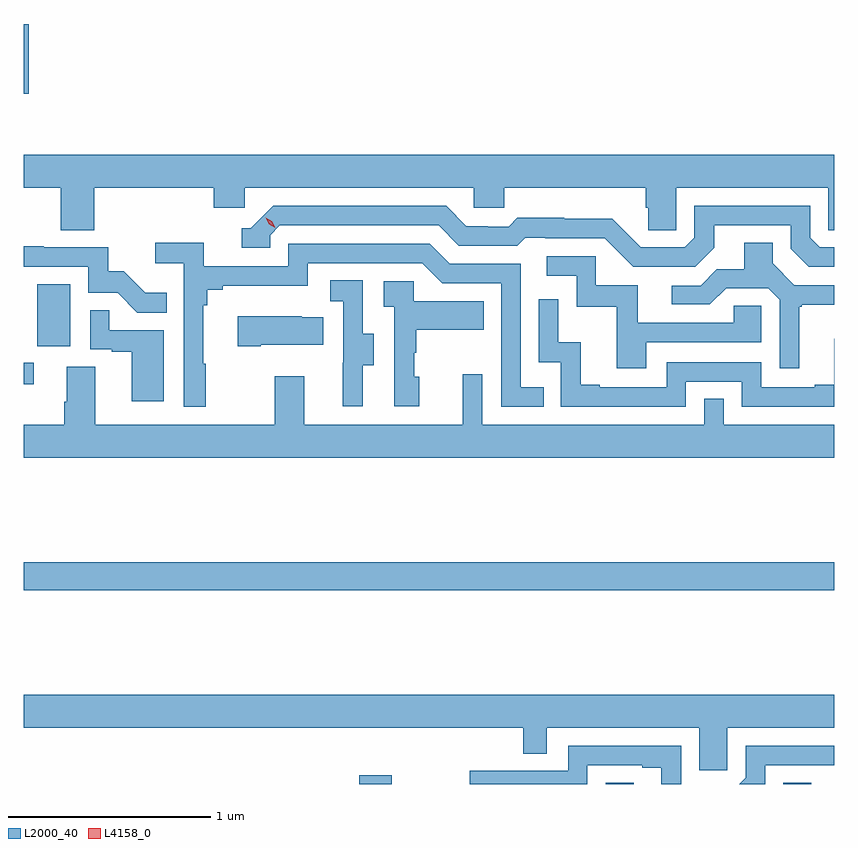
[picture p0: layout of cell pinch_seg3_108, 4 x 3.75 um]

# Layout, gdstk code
import gdstk
lib = gdstk.Library(unit=1e-6, precision=1e-09)
def R(c, l, rs):  # rectangles x0, y0, x1, y1
    for r in rs: c.add(gdstk.rectangle(r[:2], r[2:], *l))
def P(c, l, *ps):  # polygons
    for p in ps: c.add(gdstk.Polygon(p, *l))
L2000_40 = (2000, 40)
L4158_0 = (4158, 0)

pinch_seg3_108 = lib.new_cell('pinch_seg3_108')
R(pinch_seg3_108, L2000_40, [(1021.832,705.967,1021.993,706.009), (1023.047,705.967,1023.187,705.974), (1023.923,705.967,1024.063,705.974), (1020.176,706.924,1024.176,707.06), (1020.176,707.94,1020.226,708.045), (1020.242,708.126,1020.406,708.433), (1020.176,709.373,1020.202,709.717)])
P(pinch_seg3_108, L2000_40, [(1020.176,708.908),(1020.359,708.908),(1020.359,708.7),(1020.524,708.7),(1020.524,708.908),(1021.115,708.908),(1021.115,708.81),(1021.266,708.81),(1021.266,708.908),(1022.397,708.908),(1022.397,708.81),(1022.547,708.81),(1022.547,708.908),(1023.245,708.908),(1023.245,708.81),(1023.259,708.81),(1023.259,708.7),(1023.396,708.7),(1023.396,708.908),(1024.146,708.908),(1024.146,708.7),(1024.176,708.7),(1024.176,709.072),(1020.176,709.072)],
  [(1023.583,708.613),(1023.583,708.723),(1023.96,708.723),(1023.96,708.609),(1024.05,708.519),(1024.176,708.519),(1024.176,708.615),(1024.104,708.615),(1024.056,708.663),(1024.056,708.819),(1023.486,708.819),(1023.486,708.663),(1023.438,708.615),(1023.222,708.615),(1023.08,708.757),(1022.844,708.757),(1022.844,708.76),(1022.611,708.76),(1022.569,708.717),(1022.466,708.717),(1022.466,708.72),(1022.359,708.72),(1022.26,708.819),(1021.407,708.819),(1021.296,708.708),(1021.253,708.708),(1021.253,708.612),(1021.392,708.612),(1021.392,708.675),(1021.44,708.723),(1022.223,708.723),(1022.322,708.624),(1022.611,708.624),(1022.65,708.663),(1022.749,708.663),(1022.749,708.66),(1023.042,708.66),(1023.183,708.519),(1023.489,708.519)],
  [(1021.075,708.041),(1021.063,708.041),(1021.063,708.329),(1021.082,708.329),(1021.082,708.406),(1021.159,708.406),(1021.159,708.425),(1021.578,708.425),(1021.578,708.537),(1022.142,708.537),(1022.241,708.438),(1022.532,708.438),(1022.532,707.829),(1022.741,707.829),(1022.741,707.925),(1022.628,707.925),(1022.628,708.534),(1022.278,708.534),(1022.179,708.633),(1021.482,708.633),(1021.482,708.522),(1021.064,708.522),(1021.064,708.638),(1020.825,708.638),(1020.825,708.536),(1020.966,708.536),(1020.966,707.829),(1021.075,707.829)],
  [(1024.003,708.321),(1024.015,708.321),(1024.015,708.332),(1024.176,708.332),(1024.176,708.429),(1023.978,708.429),(1023.871,708.536),(1023.871,708.638),(1023.731,708.638),(1023.731,708.506),(1023.596,708.506),(1023.516,708.426),(1023.375,708.426),(1023.375,708.333),(1023.562,708.333),(1023.643,708.414),(1023.849,708.414),(1023.906,708.357),(1023.906,708.018),(1024.003,708.018)],
  [(1020.881,708.391),(1020.777,708.391),(1020.67,708.498),(1020.594,708.498),(1020.594,708.615),(1020.275,708.615),(1020.275,708.62),(1020.176,708.62),(1020.176,708.519),(1020.495,708.519),(1020.495,708.39),(1020.639,708.39),(1020.737,708.292),(1020.881,708.292)],
  [(1023.247,708.147),(1023.816,708.147),(1023.816,708.327),(1023.679,708.327),(1023.679,708.243),(1023.205,708.243),(1023.205,708.429),(1023,708.429),(1023,708.57),(1022.757,708.57),(1022.757,708.474),(1022.904,708.474),(1022.904,708.321),(1023.103,708.321),(1023.103,708.018),(1023.247,708.018)],
  [(1021.849,708.034),(1021.903,708.034),(1021.903,708.189),(1021.848,708.189),(1021.848,708.452),(1021.689,708.452),(1021.689,708.349),(1021.752,708.349),(1021.752,708.045),(1021.751,708.045),(1021.751,707.832),(1021.849,707.832)],
  [(1022.128,707.976),(1022.103,707.976),(1022.103,708.095),(1022.113,708.095),(1022.113,708.209),(1022.447,708.209),(1022.447,708.349),(1022.1,708.349),(1022.1,708.447),(1021.953,708.447),(1021.953,708.323),(1022.004,708.323),(1022.004,707.832),(1022.128,707.832)],
  [(1023.444,707.952),(1023.72,707.952),(1023.72,707.829),(1024.176,707.829),(1024.176,708.163),(1024.175,708.163),(1024.175,707.938),(1024.079,707.938),(1024.079,707.925),(1023.816,707.925),(1023.816,708.048),(1023.348,708.048),(1023.348,707.925),(1023.019,707.925),(1023.019,707.938),(1022.924,707.938),(1022.924,708.146),(1022.814,708.146),(1022.814,708.358),(1022.718,708.358),(1022.718,708.048),(1022.826,708.048),(1022.826,707.829),(1023.444,707.829)],
  [(1020.868,708.207),(1020.599,708.207),(1020.599,708.305),(1020.504,708.305),(1020.504,708.111),(1020.611,708.111),(1020.611,708.099),(1020.71,708.099),(1020.71,707.856),(1020.868,707.856)],
  [(1021.345,708.134),(1021.655,708.134),(1021.655,708.271),(1021.547,708.271),(1021.547,708.274),(1021.233,708.274),(1021.233,708.127),(1021.345,708.127)],
  [(1024.176,707.74),(1023.63,707.74),(1023.63,707.867),(1023.534,707.867),(1023.534,707.74),(1022.439,707.74),(1022.439,707.989),(1022.342,707.989),(1022.342,707.74),(1021.561,707.74),(1021.561,707.98),(1021.414,707.98),(1021.414,707.74),(1020.529,707.74),(1020.529,708.026),(1020.389,708.026),(1020.389,707.852),(1020.377,707.852),(1020.377,707.74),(1020.176,707.74),(1020.176,707.576),(1024.176,707.576)],
  [(1023.648,706.244),(1024.176,706.244),(1024.176,706.408),(1020.176,706.408),(1020.176,706.244),(1022.641,706.244),(1022.641,706.117),(1022.757,706.117),(1022.757,706.244),(1023.509,706.244),(1023.509,706.036),(1023.648,706.036)],
  [(1023.834,706.059),(1024.176,706.059),(1024.176,706.155),(1023.738,706.155),(1023.738,705.999),(1023.706,705.967),(1023.834,705.967)],
  [(1022.958,706.059),(1023.227,706.059),(1023.227,706.047),(1023.323,706.047),(1023.323,705.967),(1023.42,705.967),(1023.42,706.155),(1022.862,706.155),(1022.862,706.032),(1022.376,706.032),(1022.376,705.967),(1022.958,705.967)])
P(pinch_seg3_108, L4158_0, [(1021.417,708.711),(1021.387,708.73),(1021.37,708.762),(1021.37,708.762),(1021.371,708.762),(1021.401,708.743),(1021.418,708.711),(1021.418,708.711)])

lib.write_gds('pinch_seg3_108.gds')
